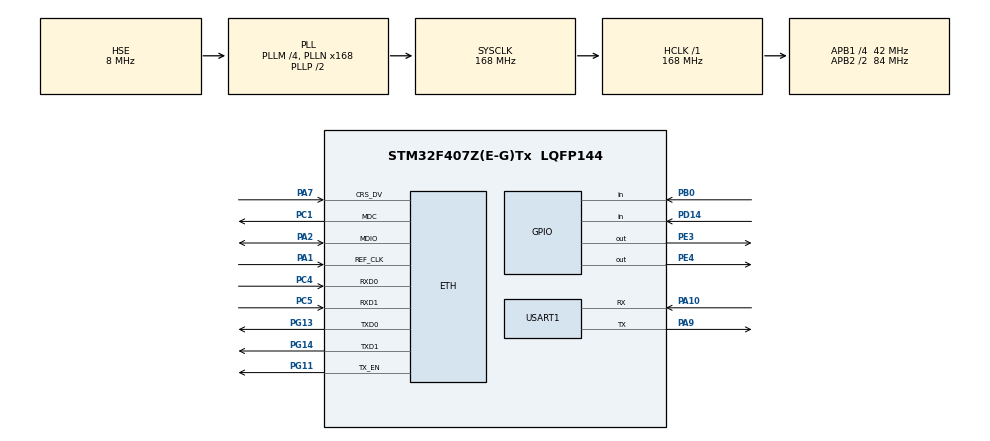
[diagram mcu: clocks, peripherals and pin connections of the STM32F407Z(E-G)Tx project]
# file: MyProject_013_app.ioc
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ETH.AutoNegotiation=ETH_AUTONEGOTIATION_DISABLE
ETH.MediaInterface=ETH_MEDIA_INTERFACE_RMII
ETH.PHY_Name_RMII=DP83848_PHY_ADDRESS
ETH.RxMode=ETH_RXINTERRUPT_MODE
ETH.Speed=ETH_SPEED_10M
FREERTOS.INCLUDE_eTaskGetState=1
FREERTOS.Tasks01=defaultTask,0,1024,StartDefaultTask,Default,NULL,Dynamic,NULL,NULL;myTask02,-3,1024,StartTask02,Default,NULL,Dynamic,NULL,NULL;myTask03,-3,1024,StartTask03,Default,NULL,Dynamic,NULL,NULL
FREERTOS.configCHECK_FOR_STACK_OVERFLOW=2
FREERTOS.configTOTAL_HEAP_SIZE=51200
FREERTOS.configUSE_STATS_FORMATTING_FUNCTIONS=1
FREERTOS.configUSE_TRACE_FACILITY=1
LWIP.Version=v2.1.2_Cube
Mcu.Family=STM32F4
Mcu.Name=STM32F407Z(E-G)Tx
Mcu.Package=LQFP144
NVIC.ETH_IRQn=true\:5\:0\:false\:false\:true\:true\:true\:true
NVIC.PriorityGroup=NVIC_PRIORITYGROUP_4
NVIC.TIM1_BRK_TIM9_IRQn=true\:5\:0\:false\:false\:true\:true\:true\:true
NVIC.TIM1_UP_TIM10_IRQn=true\:15\:0\:false\:false\:true\:false\:false\:true
NVIC.TIM3_IRQn=true\:5\:0\:false\:false\:true\:true\:true\:true
NVIC.TimeBase=TIM1_UP_TIM10_IRQn
NVIC.TimeBaseIP=TIM1
NVIC.USART1_IRQn=true\:5\:0\:false\:false\:true\:true\:true\:true
PA1.Mode=RMII
PA1.Signal=ETH_REF_CLK
PA10.Mode=Asynchronous
PA10.Signal=USART1_RX
PA13.Mode=Serial_Wire
PA13.Signal=SYS_JTMS-SWDIO
PA14.Mode=Serial_Wire
PA14.Signal=SYS_JTCK-SWCLK
PA2.Mode=RMII
PA2.Signal=ETH_MDIO
PA7.Mode=RMII
PA7.Signal=ETH_CRS_DV
PA9.Mode=Asynchronous
PA9.Signal=USART1_TX
PB0.GPIO_PuPd=GPIO_PULLDOWN
PB0.Signal=GPIO_Input
PC1.Mode=RMII
PC1.Signal=ETH_MDC
PC4.Mode=RMII
PC4.Signal=ETH_RXD0
PC5.Mode=RMII
PC5.Signal=ETH_RXD1
PD14.GPIO_PuPd=GPIO_PULLDOWN
PD14.Signal=GPIO_Input
PE3.Signal=GPIO_Output
PE4.Signal=GPIO_Output
PG11.Mode=RMII
PG11.Signal=ETH_TX_EN
PG13.Mode=RMII
PG13.Signal=ETH_TXD0
PG14.Mode=RMII
PG14.Signal=ETH_TXD1
PH0-OSC_IN.Mode=HSE-External-Oscillator
PH0-OSC_IN.Signal=RCC_OSC_IN
PH1-OSC_OUT.Mode=HSE-External-Oscillator
PH1-OSC_OUT.Signal=RCC_OSC_OUT
ProjectManager.HeapSize=0x200
ProjectManager.StackSize=0x400
ProjectManager.TargetToolchain=STM32CubeIDE
RCC.48MHZClocksFreq_Value=84000000
RCC.AHBFreq_Value=168000000
RCC.APB1CLKDivider=RCC_HCLK_DIV4
RCC.APB1Freq_Value=42000000
RCC.APB1TimFreq_Value=84000000
RCC.APB2CLKDivider=RCC_HCLK_DIV2
RCC.APB2Freq_Value=84000000
RCC.APB2TimFreq_Value=168000000
RCC.CortexFreq_Value=168000000
RCC.HCLKFreq_Value=168000000
RCC.HSE_VALUE=8000000
RCC.HSI_VALUE=16000000
RCC.LSE_VALUE=32768
RCC.PLLM=4
RCC.PLLN=168
RCC.PLLSourceVirtual=RCC_PLLSOURCE_HSE
RCC.SYSCLKFreq_VALUE=168000000
RCC.SYSCLKSource=RCC_SYSCLKSOURCE_PLLCLK
RCC.VCOOutputFreq_Value=336000000
TIM3.AutoReloadPreload=TIM_AUTORELOAD_PRELOAD_ENABLE
TIM3.Period=50-1
TIM3.Prescaler=84-1
TIM8.AutoReloadPreload=TIM_AUTORELOAD_PRELOAD_ENABLE
TIM8.Period=50-1
TIM8.Prescaler=84-1
TIM9.AutoReloadPreload=TIM_AUTORELOAD_PRELOAD_ENABLE
TIM9.Period=50-1
TIM9.Prescaler=84-1
USART1.VirtualMode=VM_ASYNC
VP_FREERTOS_VS_CMSIS_V1.Mode=CMSIS_V1
VP_LWIP_VS_Enabled.Mode=Enabled
VP_SYS_VS_tim1.Mode=TIM1
VP_TIM3_VS_ClockSourceINT.Mode=Internal
VP_TIM8_VS_ClockSourceINT.Mode=Internal
VP_TIM9_VS_ClockSourceINT.Mode=Internal
board=custom

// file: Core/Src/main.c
/* USER CODE BEGIN Header */
/**
  ******************************************************************************
  * @file           : main.c
  * @brief          : Main program body
  ******************************************************************************
  * @attention
  *
  * <h2><center>&copy; Copyright (c) 2022 STMicroelectronics.
  * All rights reserved.</center></h2>
  *
  * This software component is licensed by ST under BSD 3-Clause license,
  * the "License"; You may not use this file except in compliance with the
  * License. You may obtain a copy of the License at:
  *                        opensource.org/licenses/BSD-3-Clause
  *
  ******************************************************************************
  */
/* USER CODE END Header */
#include "main.h"
#include "cmsis_os.h"
#include "lwip.h"
#include "tim.h"
#include "usart.h"
#include "gpio.h"

/* USER CODE BEGIN Includes */
#include "rf433.h"
/* USER CODE END Includes */

void SystemClock_Config(void);
void MX_FREERTOS_Init(void);

/* USER CODE BEGIN 0 */

#ifdef __GNUC__
//  /* With GCC/RAISONANCE, small printf (option LD Linker->Libraries->Small printf *****/
// /*****    set to 'Yes') calls __io_putchar() */

#define PUTCHAR_PROTOTYPE int __io_putchar(int ch)
#else
#define PUTCHAR_PROTOTYPE int fputc(int ch, FILE *f)
#endif /* __GNUC__ */

/**
  * @brief  Retargets the C library printf function to the USART.
  * @param  None
  * @retval None
  */

PUTCHAR_PROTOTYPE
{
  HAL_UART_Transmit(&huart1,(uint8_t *)&ch,1,0xFFFF);
  return ch;
}

//作�?�：天上的星�???????????260
//链接：https://www.jianshu.com/p/b102eccbf65e
//来源：简�???????????
//著作权归作�?�所有�?�商业转载请联系作�?�获得授权，非商业转载请注明出处�???????????

/* USER CODE END 0 */

int main(void)
{
  /* USER CODE BEGIN 1 */

	SCB->VTOR = FLASH_BASE | 0x80000;//设置偏移量

  /* USER CODE END 1 */

  /* MCU Configuration--------------------------------------------------------*/

  /* Reset of all peripherals, Initializes the Flash interface and the Systick. */
  HAL_Init();

  /* Configure the system clock */
  SystemClock_Config();

  /* Initialize all configured peripherals */
  MX_GPIO_Init();
  MX_USART1_UART_Init();
  MX_TIM3_Init();
  MX_TIM9_Init();
  MX_TIM8_Init();
  /* USER CODE BEGIN 2 */

  printf("MX_USART1_UART_Init finish ...\n\n");

  /* USER CODE END 2 */

  /* Call init function for freertos objects (in freertos.c) */
  MX_FREERTOS_Init();
  /* Start scheduler */
  osKernelStart();

  /* We should never get here as control is now taken by the scheduler */
  /* Infinite loop */
  while (1)
  {

  }
}

void SystemClock_Config(void)
{
  RCC_OscInitTypeDef RCC_OscInitStruct = {0};
  RCC_ClkInitTypeDef RCC_ClkInitStruct = {0};

  /** Configure the main internal regulator output voltage
  */
  __HAL_RCC_PWR_CLK_ENABLE();
  __HAL_PWR_VOLTAGESCALING_CONFIG(PWR_REGULATOR_VOLTAGE_SCALE1);
  /** Initializes the RCC Oscillators according to the specified parameters
  * in the RCC_OscInitTypeDef structure.
  */
  RCC_OscInitStruct.OscillatorType = RCC_OSCILLATORTYPE_HSE;
  RCC_OscInitStruct.HSEState = RCC_HSE_ON;
  RCC_OscInitStruct.PLL.PLLState = RCC_PLL_ON;
  RCC_OscInitStruct.PLL.PLLSource = RCC_PLLSOURCE_HSE;
  RCC_OscInitStruct.PLL.PLLM = 4;
  RCC_OscInitStruct.PLL.PLLN = 168;
  RCC_OscInitStruct.PLL.PLLP = RCC_PLLP_DIV2;
  RCC_OscInitStruct.PLL.PLLQ = 4;
  if (HAL_RCC_OscConfig(&RCC_OscInitStruct) != HAL_OK)
  {
    Error_Handler();
  }
  /** Initializes the CPU, AHB and APB buses clocks
  */
  RCC_ClkInitStruct.ClockType = RCC_CLOCKTYPE_HCLK|RCC_CLOCKTYPE_SYSCLK
                              |RCC_CLOCKTYPE_PCLK1|RCC_CLOCKTYPE_PCLK2;
  RCC_ClkInitStruct.SYSCLKSource = RCC_SYSCLKSOURCE_PLLCLK;
  RCC_ClkInitStruct.AHBCLKDivider = RCC_SYSCLK_DIV1;
  RCC_ClkInitStruct.APB1CLKDivider = RCC_HCLK_DIV4;
  RCC_ClkInitStruct.APB2CLKDivider = RCC_HCLK_DIV2;

  if (HAL_RCC_ClockConfig(&RCC_ClkInitStruct, FLASH_LATENCY_5) != HAL_OK)
  {
    Error_Handler();
  }
}

/* USER CODE BEGIN 4 */

int tim3_cnt = 0;

/* USER CODE END 4 */

void HAL_TIM_PeriodElapsedCallback(TIM_HandleTypeDef *htim)
{
  if (htim->Instance == TIM1) {
    HAL_IncTick();
  }
  /* USER CODE BEGIN Callback 1 */
/***
  if (htim->Instance == TIM3) {     //2022.11.18

	  tim3_cnt++;
	  if(tim3_cnt % 10000 == 0)
	  {
		  printf("TIM3 time up ... %d\n",tim3_cnt);
	  }

	  soft_count();
  }

 ***/

  if (htim->Instance == TIM9) {     //2022.11.18

	  tim3_cnt++;
	  if(tim3_cnt % 10000 == 0)
	  {
		  //printf("TIM9 time up ... %d\n",tim3_cnt);
	  }

	  soft_count();
  }

/***
  if (htim->Instance == TIM8) {     //2022.11.18

	  tim3_cnt++;
	  if(tim3_cnt % 10000 == 0)
	  {
		  printf("TIM8 time up ... %d\n",tim3_cnt);
	  }

	  soft_count();
  }
***/

  /* USER CODE END Callback 1 */
}

void Error_Handler(void)
{
  __disable_irq();
  while (1)
  {
  }
}

/************************ (C) COPYRIGHT STMicroelectronics *****END OF FILE****/

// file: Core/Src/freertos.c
/* USER CODE BEGIN Header */
/**
  ******************************************************************************
  * File Name          : freertos.c
  * Description        : Code for freertos applications
  ******************************************************************************
  * @attention
  *
  * <h2><center>&copy; Copyright (c) 2022 STMicroelectronics.
  * All rights reserved.</center></h2>
  *
  * This software component is licensed by ST under Ultimate Liberty license
  * SLA0044, the "License"; You may not use this file except in compliance with
  * the License. You may obtain a copy of the License at:
  *                             www.st.com/SLA0044
  *
  ******************************************************************************
  */
/* USER CODE END Header */

#include "FreeRTOS.h"
#include "task.h"
#include "main.h"
#include "cmsis_os.h"

/* USER CODE BEGIN Includes */

#include "usart.h"
#include <stdio.h>
#include <string.h>

#include "lwip.h"
#include "netif.h"
#include "lwipopts.h"
#include "lwip/api.h"

#include "FreeRTOSConfig.h"

#include "tcp_client.h"
#include "tcp_process.h"

/* USER CODE END Includes */

/* USER CODE BEGIN PTD */

const unsigned char CCDQUERRY_TCP_cmd[] = "{\"body\": {\"netType\": \"TCP\"},\"cmd\": \"CCDBOOST_COMMAND_QUERRYCCDSERVICE\",\"sessionId\": \"Amx2Test_SessionId\",\"clientId\": \"Amx2Test_ClientId\",\"type\": \"BT_REQUEST\"}";

/* USER CODE END PTD */

osThreadId defaultTaskHandle;
osThreadId myTask02Handle;
osThreadId myTask03Handle;

/* USER CODE BEGIN FunctionPrototypes */

osThreadId uart1TaskHandle;
void StartUart1Task(void const * argument);
void StartUart1RecvTask(void const * argument);

osThreadId TCPClientTaskHandle;
void StartTCPClientTask(void const * argument);

osThreadId  tcp_clientHandle;
//void tcp_clientTask(void const * argument);

void print_Task(void *parg);

/* USER CODE END FunctionPrototypes */

void StartDefaultTask(void const * argument);
void StartTask02(void const * argument);
void StartTask03(void const * argument);

extern void MX_LWIP_Init(void);
void MX_FREERTOS_Init(void); /* (MISRA C 2004 rule 8.1) */

/* GetIdleTaskMemory prototype (linked to static allocation support) */
void vApplicationGetIdleTaskMemory( StaticTask_t **ppxIdleTaskTCBBuffer, StackType_t **ppxIdleTaskStackBuffer, uint32_t *pulIdleTaskStackSize );

/* Hook prototypes */
void vApplicationStackOverflowHook(xTaskHandle xTask, signed char *pcTaskName);

/* USER CODE BEGIN 4 */
__weak void vApplicationStackOverflowHook(xTaskHandle xTask, signed char *pcTaskName)
{
   /* Run time stack overflow checking is performed if
   configCHECK_FOR_STACK_OVERFLOW is defined to 1 or 2. This hook function is
   called if a stack overflow is detected. */

}
/* USER CODE END 4 */

/* USER CODE BEGIN GET_IDLE_TASK_MEMORY */
static StaticTask_t xIdleTaskTCBBuffer;
static StackType_t xIdleStack[configMINIMAL_STACK_SIZE];

void vApplicationGetIdleTaskMemory( StaticTask_t **ppxIdleTaskTCBBuffer, StackType_t **ppxIdleTaskStackBuffer, uint32_t *pulIdleTaskStackSize )
{
  *ppxIdleTaskTCBBuffer = &xIdleTaskTCBBuffer;
  *ppxIdleTaskStackBuffer = &xIdleStack[0];
  *pulIdleTaskStackSize = configMINIMAL_STACK_SIZE;
  /* place for user code */
}
/* USER CODE END GET_IDLE_TASK_MEMORY */

void MX_FREERTOS_Init(void) {

  /* Create the thread(s) */
  /* definition and creation of defaultTask */
  osThreadDef(defaultTask, StartDefaultTask, osPriorityNormal, 0, 1024);
  defaultTaskHandle = osThreadCreate(osThread(defaultTask), NULL);

  /* definition and creation of myTask02 */
  osThreadDef(myTask02, StartTask02, osPriorityIdle, 0, 1024);
  myTask02Handle = osThreadCreate(osThread(myTask02), NULL);

  /* definition and creation of myTask03 */
  //osThreadDef(myTask03, StartTask03, osPriorityIdle, 0, 1024);
  //myTask03Handle = osThreadCreate(osThread(myTask03), NULL);

  /* USER CODE BEGIN RTOS_THREADS */
  /* add threads, ... */

  osThreadDef(uart1Task, StartUart1RecvTask, osPriorityAboveNormal, 0, 1024);   //  StartUart1Task
  uart1TaskHandle = osThreadCreate(osThread(uart1Task), NULL);

  //StartUart1RecvTask

  //osThreadDef(tcp_client, tcp_clientTask, osPriorityAboveNormal, 0, 1024);
  //tcp_clientHandle = osThreadCreate(osThread(tcp_client), NULL);

  //xTaskCreate(tcp_client, "tcp_client", 512, NULL, 3, NULL); // 创建TCP客户端任�????

  printf("MX_FREERTOS_Init init ...003 ...\n\n");

  //xTaskCreate(tcp_client, "tcp_client", 4096, NULL, osPriorityNormal, NULL); // 创建TCP客户端任�????   //3

  printf("MX_FREERTOS_Init init ...004 ...\n\n");

  //xTaskCreate(print_Task, "print_Task", 512, NULL, 2, NULL); // 创建TCP客户端任�????

  printf("MX_FREERTOS_Init init ...009 ...\n\n");

  /* USER CODE END RTOS_THREADS */

}

void StartDefaultTask(void const * argument)
{
  /* init code for LWIP */
  MX_LWIP_Init();
  /* USER CODE BEGIN StartDefaultTask */
  /* Infinite loop */
  for(;;)
  {
	  printf("StartDefaultTask loop ...  this is app\n\n");
	  HAL_GPIO_WritePin(GPIOE, GPIO_PIN_3|GPIO_PIN_4, GPIO_PIN_RESET);
	  osDelay(500);
	  HAL_GPIO_WritePin(GPIOE, GPIO_PIN_3|GPIO_PIN_4, GPIO_PIN_SET);
      osDelay(500);
  }
  /* USER CODE END StartDefaultTask */
}

/* USER CODE BEGIN Header_StartTask02 */
/**
* @brief Function implementing the myTask02 thread.
* @param argument: Not used
* @retval None
*/

__lwip_dev lwipdev;						//lwip鎺у埗缁撴瀯锟�???????????

uint8_t tcp_flag = 0;

/* USER CODE END Header_StartTask02 */
void StartTask02(void const * argument)
{
  /* USER CODE BEGIN StartTask02 */

	uint32_t ip=0, netmask=0, gw=0 ;
	unsigned int remain_size = 0;

	int printfstate_on =1;

  /* Infinite loop */
  for(;;)
  {
	  /**
	   *
	   * https://blog.csdn.net/weixin_42328389/article/details/121153037
	   *
	   * ***/
	    if(printfstate_on){
	      //printfstate_on =0;
	      uint8_t mytaskstatebuffer[500];
	      printf("==================================\n\n");
	      //printf("任务�???????          任务状�??    优先�???????     剩余�???????   任务序号\r\n");  osPriorityAboveNormal
	      printf("TaskName    TaskState  Priority  RemainStask  TaskNumber\n\n");
	      osThreadList((uint8_t *)&mytaskstatebuffer);
	      printf("%s\n\n",mytaskstatebuffer);
	    }

	    if(printfstate_on)   //LWIP_DHCP
	     {
			  //printf("ipaddr.addr: %ld\n",ipaddr.addr);   //ipaddr.addr = 0;
			  //printf("netmask.addr: %ld\n",netmask.addr);   //netmask.addr = 0;
			  //printf("gw.addr: %ld\n\n\n",gw.addr);   //gw.addr = 0;

			  ip = gnetif.ip_addr.addr;

			  if(tcp_flag == 0 && ip != 0)
			  {
				  tcp_flag=1;
				  //xTaskCreate(tcp_client, "tcp_client", 4096, NULL, osPriorityNormal, NULL); // 创建TCP客户端任�????   //3

				  tcp_client_init();

				  printf("tcp_client create success ...\n\n");
			  }

			  printf("gnetif.ip_addr.addr: %ld\n",gnetif.ip_addr.addr);
			  lwipdev.ip[3]=(uint8_t)(ip>>24);
			  lwipdev.ip[2]=(uint8_t)(ip>>16);
			  lwipdev.ip[1]=(uint8_t)(ip>>8);
			  lwipdev.ip[0]=(uint8_t)(ip);
			  printf("DHCP:IP.......%d.%d.%d.%d\r\n",lwipdev.ip[0],lwipdev.ip[1],lwipdev.ip[2],lwipdev.ip[3]);

			  netmask = gnetif.netmask.addr;
			  lwipdev.netmask[3]=(uint8_t)(netmask>>24);
			  lwipdev.netmask[2]=(uint8_t)(netmask>>16);
			  lwipdev.netmask[1]=(uint8_t)(netmask>>8);
			  lwipdev.netmask[0]=(uint8_t)(netmask);
			  printf("DHCP:Netmask......%d.%d.%d.%d\r\n",lwipdev.netmask[0],lwipdev.netmask[1],lwipdev.netmask[2],lwipdev.netmask[3]);

			  gw = gnetif.gw.addr;
			  lwipdev.gateway[3]=(uint8_t)(gw>>24);
			  lwipdev.gateway[2]=(uint8_t)(gw>>16);
			  lwipdev.gateway[1]=(uint8_t)(gw>>8);
			  lwipdev.gateway[0]=(uint8_t)(gw);
			  printf("DHCP:gateway.....%d.%d.%d.%d\r\n",lwipdev.gateway[0],lwipdev.gateway[1],lwipdev.gateway[2],lwipdev.gateway[3]);
		  }

		  remain_size = xPortGetFreeHeapSize();
		  printf("remain heap size:%d\n\n", remain_size);

    osDelay(5000);
  }
  /* USER CODE END StartTask02 */
}

void StartTask03(void const * argument)
{
  /* USER CODE BEGIN StartTask03 */
  /* Infinite loop */
	uint8_t tcpState = 0;

	/***
	 * 	STA_NET_BEGIN = 0,
	STA_NET_NO_CONNECT = 1,//网络未连�????
	STA_NET_CONNECT = 2,//网络连接，PORT CCD服务未连�????
	STA_CCDPORT = 3,//CCD服务连接
	STA_CCDPORT_CONNECT = 4,//CCD服务连接
	STA_LOGINPORT = 5,//CCD服务连接
	STA_LOGINPORT_CONNECT = 6,//CCD服务连接
	STA_LOGIN_IN = 7,//已登�????
	STA_LOGIN_OUT = 8//已登�????
	 ****/

	tcpState = STA_TCP_NO_CONNECT;

    for(;;)
    {
		switch(tcpState)
		{
			case STA_TCP_NO_CONNECT:
				//CCDQUERRY_TCP_cmd
				//tcp_client_write(CCDQUERRY_TCP_cmd, sizeof(CCDQUERRY_TCP_cmd));
				printf("---STA_NET_NO_CONNECT...\n\n");
				//if(connect_flag == pdTRUE)
				{
					//packVwasCmd(CCDQUERRY_TCP_cmd);
					tcpState = STA_TCP_CONNECT;
				}
				break;

			case STA_TCP_CONNECT:
				printf("---tcpState = %d, STA_TCP_CONNECT...\n\n", tcpState);

				break;
			case STA_CCDPORT:
				printf("---STA_NET_CONNECT...\n\n");
				break;

			case STA_CCDPORT_CONNECT:
			//case MODESCREEN:
				STA_LOGINPORT;
				break;
			default:
				//refreshSTATUSMONITORING_2();
				break;
		}

	  osDelay(3000);
  }
  /* USER CODE END StartTask03 */
}

/* USER CODE BEGIN Application */

int DHCP_flag = 1;

void StartUart1RecvTask(void const * argument)
{

	printf("-----StartUart1Task--- 001\n");

	for(;;)
	{
	  if(uart1_it > 0)
	  {
		  printf("-----uart1 receive %d data:\n", uart1_it);
		  for(int i = 0; i < uart1_it; i++ )
		  printf("%c", Uart1RxBuf[i]);
		  uart1_it=0;
	  }

	  osDelay(20);
	}
}

void StartUart1Task(void const * argument)
{

	printf("-----StartUart1Task--- 001\n");

	for(;;)
	{
	  if(uart1_it > 0)
	  {
		  printf("-----uart1 receive %d data:\n", uart1_it);
		  for(int i = 0; i < uart1_it; i++ )
		  printf("%c", Uart1RxBuf[i]);

		  if(Uart1RxBuf[0] == 's')
		  {
			  // vTaskDelete(LED1Task_Handler);
			  //vTaskSuspend(myTask02Handle);
			  if(DHCP_flag == 1)
			  {
				  vTaskDelete(LinkThrHandle);
				  vTaskDelete(tcpip_threadHandle);
				  vTaskDelete(EthIfHandle);

				  dhcp_release_and_stop(&gnetif);

				  printf("--------------vTaskDelete finish ...\n\n");

				  osDelay(5000);

				  printf("--------------netif_remove start ...\n\n");
				  netif_remove(&gnetif);

				  printf("--------------MX_LWIP_Init_static start ...\n\n");
				  MX_LWIP_Init_static();
				  DHCP_flag = 0;
			  }
			  printf("--------------switch static ip finish ...\n\n");
		  }

		  if(Uart1RxBuf[0] == 't')
		  {
			  printf("--------------netif_remove start ...\n\n");
			  netif_remove(&gnetif);
			  printf("--------------MX_LWIP_Init_static start ...\n\n");
			  MX_LWIP_Init_static();
			  printf("--------------vTaskSuspend finish ...\n\n");
		  }

		  if(Uart1RxBuf[0] == 'r')
		  {
			  //vTaskResume(myTask02Handle);
			  vTaskResume(LinkThrHandle);
			  vTaskResume(tcpip_threadHandle);
			  vTaskResume(EthIfHandle);
			  printf("--------------vTaskResume finish ...\n\n");
		  }
		  //MX_LWIP_Init_DHCP
		  if(Uart1RxBuf[0] == 'd')
		  {
			  if(DHCP_flag == 0)
			  {
				  vTaskDelete(LinkThrHandle);
				  vTaskDelete(tcpip_threadHandle);
				  vTaskDelete(EthIfHandle);
				  dhcp_release_and_stop(&gnetif);
				  printf("--------------vTaskDelete finish ...\n\n");
				  osDelay(5000);
				  printf("--------------DHCP begin ...\n\n");
				  netif_remove(&gnetif);
				  printf("--------------netif_remove finish ...\n\n");
				  MX_LWIP_Init();
				  printf("--------------MX_LWIP_Init_DHCP finish ...\n\n");
				  DHCP_flag = 1;
			  }

			  printf("--------------switch DHCP finish ...\n\n");
		  }

		  if(Uart1RxBuf[0] == '0')
		  {
			  printf("----------tcp_client_write begin ...\n\n");
			  //tcp_client_write((const)Uart1RxBuf, uart1_it);

			  tcp_client_send_data(Uart1RxBuf, uart1_it);
		  }

		  printf("StartUart1Task--------finish------\n\n");
		  memset((char*)Uart1RxBuf, 0, RXBUFMAX);
		  uart1_it = 0;
	  }
    osDelay(20);
  }
}

void print_Task(void *parg)
{

	while(1)
	{
		printf("print_Task-----\n\n");

		osDelay(2000);
	}

}

/* USER CODE END Application */

/************************ (C) COPYRIGHT STMicroelectronics *****END OF FILE****/
